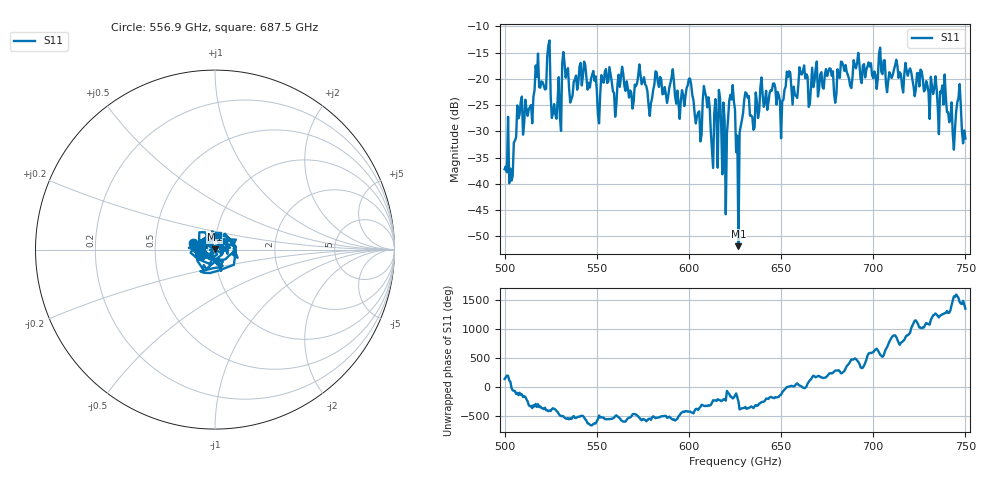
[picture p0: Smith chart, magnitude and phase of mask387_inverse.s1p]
!Created with skrf (http://scikit-rf.org).
# GHz S MA R 50.0
!freq magS11 angS11
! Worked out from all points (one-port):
!   401 points, 500 GHz to 750 GHz, reference 50 ohm
!   lowest |S11| = -51.9 dB at 626.9 GHz (marker M1), VSWR 1.01, Z = 49.9 + j0.243 ohm
!   |S11| at or under -10 dB: start of sweep to end of sweep
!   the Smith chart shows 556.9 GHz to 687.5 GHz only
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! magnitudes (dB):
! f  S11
! 500 GHz  -37.2
! 503.8 GHz  -39.4
! 508.1 GHz  -26.8
! 513.8 GHz  -25.4
! 517.5 GHz  -19.6
! 523.8 GHz  -13.6
! 526.9 GHz  -24.8
! 531.2 GHz  -17.1
! 562.5 GHz  -21.5
! 593.8 GHz  -22.3
! 600 GHz  -20.0
! 605.6 GHz  -26.2
! 609.4 GHz  -23.4
! 611.9 GHz  -30.1
! 617.5 GHz  -28.8
! 619.4 GHz  -28.0
! 622.5 GHz  -23.1
! 625 GHz  -25.9
! 626.9 GHz  -51.9
! 631.2 GHz  -22.8
! 634.4 GHz  -27.2
! 656.2 GHz  -24.9
! 687.5 GHz  -21.4
! 718.8 GHz  -19.4
! 738.1 GHz  -24.9
! 743.1 GHz  -30.4
! 746.2 GHz  -23.7
! 750 GHz  -31.4
